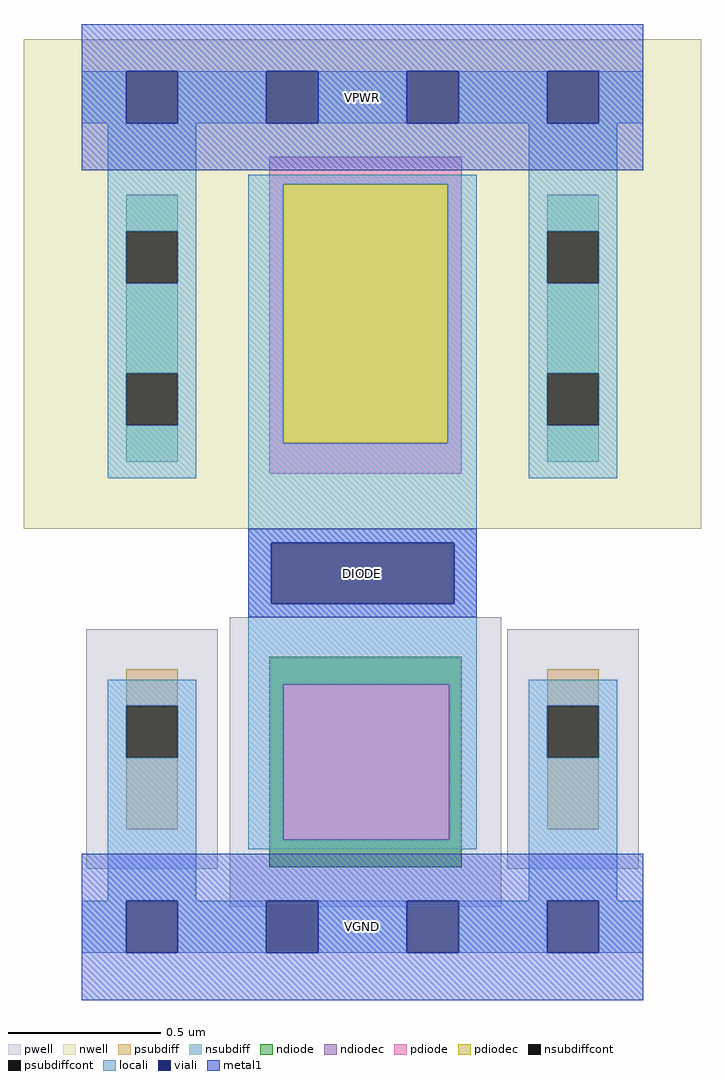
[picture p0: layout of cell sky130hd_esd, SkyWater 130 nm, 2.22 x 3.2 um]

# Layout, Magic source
magic
tech sky130A
magscale 1 2
<< nwell >>
rect 222 249 666 570
<< pwell >>
rect 263 26 349 183
rect 357 1 535 191
rect 539 26 625 183
rect 381 -29 415 1
<< psubdiff >>
rect 289 133 323 157
rect 289 52 323 99
rect 565 133 599 157
rect 565 52 599 99
<< nsubdiff >>
rect 289 444 323 468
rect 289 351 323 410
rect 289 293 323 317
rect 565 444 599 468
rect 565 351 599 410
rect 565 293 599 317
<< psubdiffcont >>
rect 289 99 323 133
rect 565 99 599 133
<< nsubdiffcont >>
rect 289 410 323 444
rect 289 317 323 351
rect 565 410 599 444
rect 565 317 599 351
<< pdiode >>
rect 383 475 509 493
rect 383 305 392 475
rect 500 305 509 475
rect 383 285 509 305
<< ndiode >>
rect 383 147 509 165
rect 383 45 392 147
rect 501 45 509 147
rect 383 27 509 45
<< pdiodec >>
rect 392 305 500 475
<< ndiodec >>
rect 392 45 501 147
<< locali >>
rect 260 515 289 549
rect 323 515 381 549
rect 415 515 473 549
rect 507 515 565 549
rect 599 515 628 549
rect 277 444 335 515
rect 277 410 289 444
rect 323 410 335 444
rect 277 351 335 410
rect 277 317 289 351
rect 323 317 335 351
rect 277 282 335 317
rect 369 475 519 481
rect 369 305 392 475
rect 500 305 519 475
rect 369 240 519 305
rect 553 444 611 515
rect 553 410 565 444
rect 599 410 611 444
rect 553 351 611 410
rect 553 317 565 351
rect 599 317 611 351
rect 553 282 611 317
rect 369 200 384 240
rect 504 200 519 240
rect 277 133 335 150
rect 277 99 289 133
rect 323 99 335 133
rect 277 5 335 99
rect 369 147 519 200
rect 369 45 392 147
rect 501 45 519 147
rect 369 39 519 45
rect 553 133 611 150
rect 553 99 565 133
rect 599 99 611 133
rect 553 5 611 99
rect 260 -29 289 5
rect 323 -29 381 5
rect 415 -29 473 5
rect 507 -29 565 5
rect 599 -29 628 5
<< viali >>
rect 289 515 323 549
rect 381 515 415 549
rect 473 515 507 549
rect 565 515 599 549
rect 384 200 504 240
rect 289 -29 323 5
rect 381 -29 415 5
rect 473 -29 507 5
rect 565 -29 599 5
<< metal1 >>
rect 260 549 628 580
rect 260 515 289 549
rect 323 515 381 549
rect 415 515 473 549
rect 507 515 565 549
rect 599 515 628 549
rect 260 484 628 515
rect 369 240 519 249
rect 369 200 384 240
rect 504 200 519 240
rect 369 191 519 200
rect 260 5 628 36
rect 260 -29 289 5
rect 323 -29 381 5
rect 415 -29 473 5
rect 507 -29 565 5
rect 599 -29 628 5
rect 260 -60 628 -29
<< labels >>
rlabel metal1 370 192 518 248 1 DIODE
rlabel metal1 262 486 626 578 1 VPWR
rlabel metal1 262 -58 626 34 1 VGND
<< end >>
